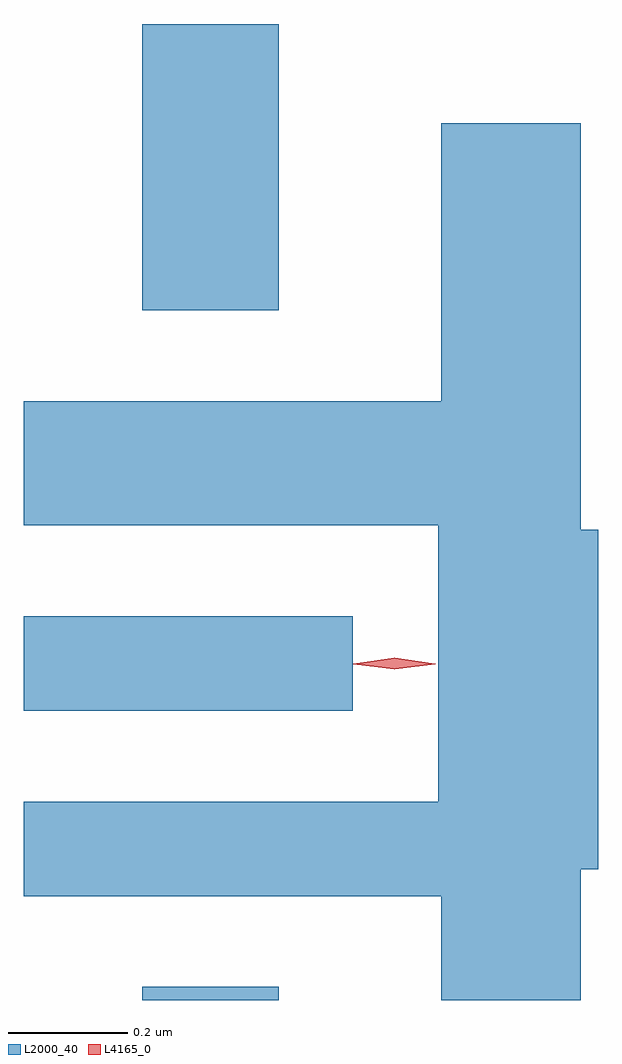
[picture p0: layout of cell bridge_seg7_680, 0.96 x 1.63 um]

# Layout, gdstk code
import gdstk
lib = gdstk.Library(unit=1e-6, precision=1e-09)
def R(c, l, rs):  # rectangles x0, y0, x1, y1
    for r in rs: c.add(gdstk.rectangle(r[:2], r[2:], *l))
def P(c, l, *ps):  # polygons
    for p in ps: c.add(gdstk.Polygon(p, *l))
L2000_40 = (2000, 40)
L4165_0 = (4165, 0)

bridge_seg7_680 = lib.new_cell('bridge_seg7_680')
R(bridge_seg7_680, L2000_40, [(878.171,1668.252,878.399,1668.274), (877.972,1668.736,878.523,1668.894), (878.171,1669.406,878.399,1669.885)])
P(bridge_seg7_680, L2000_40, [(878.904,1668.471),(878.934,1668.471),(878.934,1669.039),(878.904,1669.039),(878.904,1669.719),(878.671,1669.719),(878.671,1669.254),(877.972,1669.254),(877.972,1669.046),(878.666,1669.046),(878.666,1668.584),(877.972,1668.584),(877.972,1668.426),(878.671,1668.426),(878.671,1668.252),(878.904,1668.252)])
P(bridge_seg7_680, L4165_0, [(878.593,1668.805),(878.524,1668.814),(878.524,1668.815),(878.524,1668.815),(878.593,1668.825),(878.661,1668.815),(878.662,1668.815),(878.661,1668.814)],
  [(878.592,1668.805),(878.527,1668.814),(878.527,1668.815),(878.527,1668.815),(878.592,1668.825),(878.657,1668.815),(878.657,1668.815),(878.657,1668.814)])

lib.write_gds('bridge_seg7_680.gds')
